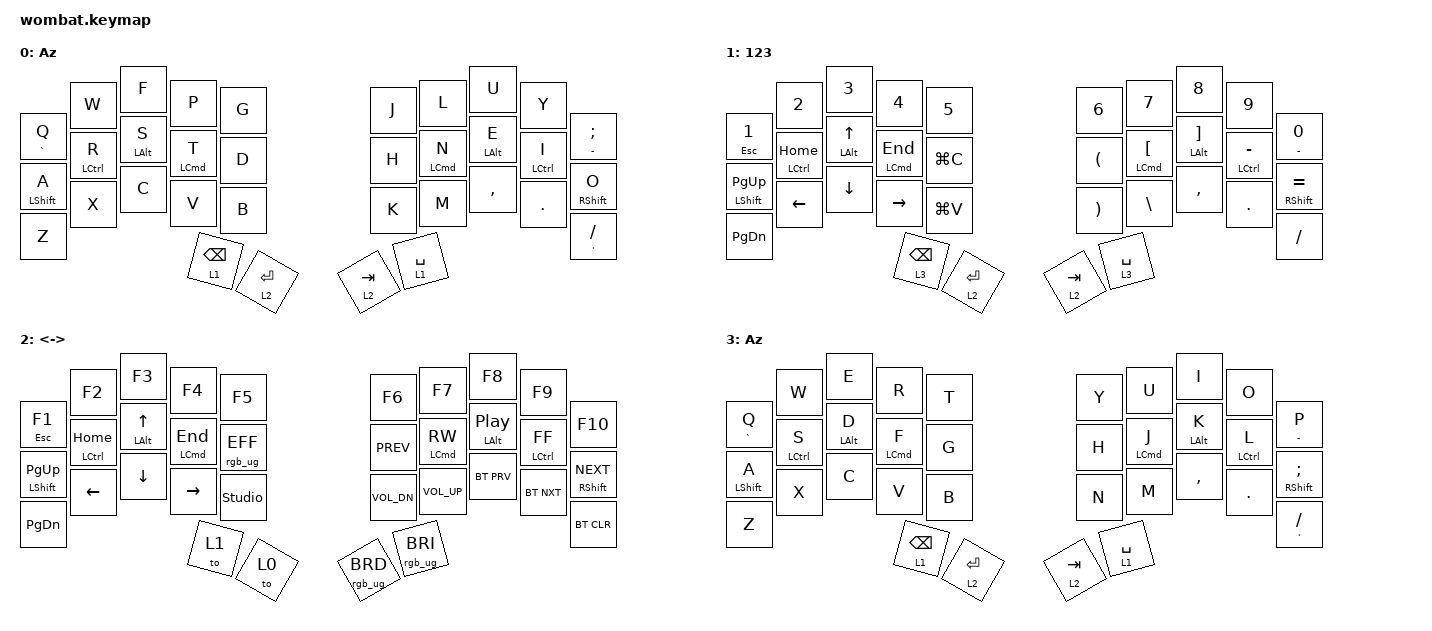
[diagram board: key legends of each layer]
/*
 * Copyright (c) 2020 The ZMK Contributors
 *
 * SPDX-License-Identifier: MIT
 */

#include <behaviors.dtsi>
#include <dt-bindings/zmk/keys.h>
#include <dt-bindings/zmk/bt.h>
#include <dt-bindings/zmk/rgb.h>
#include <dt-bindings/zmk/ext_power.h>

&mt {
   flavor = "tap-preferred";
   quick_tap_ms = <125>;
   tapping_term_ms = <250>;
};

&lt {
   quick_tap_ms = <125>;
};

/ {
  combos {
    compatible = "zmk,combos";

    combo_caps {
      timeout-ms = <100>;
      key-positions = <10 19>;
      bindings = <&caps_word>;
    };

    combo_num {
      timeout-ms = <100>;
      key-positions = <30 33>;
      bindings = <&tog 1>;
    };

    combo_ctrl {
      timeout-ms = <100>;
      key-positions = <31 32>;
      bindings = <&tog 2>;
    };
  };

  behaviors {
    tt: to_tap {
      compatible = "zmk,behavior-hold-tap";
      #binding-cells = <2>;
      flavor = "tap-preferred";
      tapping-term-ms = <250>;
      bindings = <&to>, <&kp>;
    };
  };

  keymap {
    compatible = "zmk,keymap";

    letters {
      display-name = " Az";
      bindings = <
      &mt GRAVE Q  &kp W       &kp F      &kp P       &kp G       &kp J     &kp L      &kp U      &kp Y       &mt MINUS SEMI
      &mt LSHIFT A &mt LCTRL R &mt LALT S &mt LCMD T  &kp D       &kp H     &mt LCMD N &mt LALT E &mt LCTRL I &mt RSHFT O
      &kp Z        &kp X       &kp C      &kp V       &kp B       &kp K     &kp M      &kp COMMA   &kp DOT     &mt SQT FSLH
                                          &lt 1 BSPC  &lt 2 RET   &lt 2 TAB &lt 1 SPACE
      >;
    };

    numbers {
      display-name = " 123";
      bindings = <
      &mt ESC N1       &kp N2         &kp N3      &kp N4       &kp N5       &kp N6    &kp N7        &kp N8        &kp N9          &mt MINUS N0
      &mt LSHIFT PG_UP &mt LCTRL HOME &mt LALT UP &mt LCMD END &kp LG(C)    &kp LPAR  &mt LCMD LBKT &mt LALT RBKT &mt LCTRL MINUS &mt RSHIFT EQUAL
      &kp PG_DN        &kp LEFT       &kp DOWN    &kp RIGHT    &kp LG(V)    &kp RPAR  &kp BSLH      &kp COMMA      &kp DOT         &kp FSLH
                                                  &lt 3 BSPC   &lt 2 RET    &lt 2 TAB &lt 3 SPACE
      >;
    };

    control {
      display-name = " <->";
      bindings = <
      &mt ESC F1       &kp F2         &kp F3      &kp F4       &kp F5             &kp F6          &kp F7        &kp F8        &kp F9         &kp F10
      &mt LSHIFT PG_UP &mt LCTRL HOME &mt LALT UP &mt LCMD END &rgb_ug RGB_EFF    &kp C_PREV      &mt LCMD C_RW &mt LALT C_PP &mt LCTRL C_FF &mt RSHIFT C_NEXT
      &kp PG_DN        &kp LEFT       &kp DOWN    &kp RIGHT    &studio_unlock     &kp C_VOL_DN    &kp C_VOL_UP  &bt BT_PRV    &bt BT_NXT     &bt BT_CLR
                                                  &to 1        &to 0              &rgb_ug RGB_BRD &rgb_ug RGB_BRI
      >;
    };

    letters_high { // repeat of letters, so the temp layer transfer fom numbers will work
      display-name = " Az";
      bindings = <
      &mt GRAVE Q  &kp W       &kp E      &kp R       &kp T       &kp Y     &kp U      &kp I      &kp O       &mt MINUS P
      &mt LSHIFT A &mt LCTRL S &mt LALT D &mt LCMD F  &kp G       &kp H     &mt LCMD J &mt LALT K &mt LCTRL L &mt RSHFT SEMI
      &kp Z        &kp X       &kp C      &kp V       &kp B       &kp N     &kp M      &kp COMMA   &kp DOT     &mt SQT FSLH
                                          &lt 1 BSPC  &lt 2 RET   &lt 2 TAB &lt 1 SPACE
      >;
    };
  };
};
